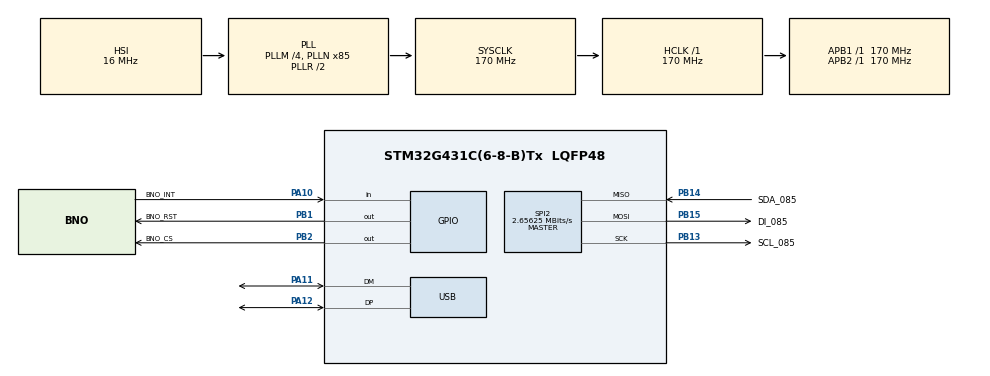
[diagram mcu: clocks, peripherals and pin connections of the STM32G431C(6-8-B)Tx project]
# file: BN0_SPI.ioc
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Mcu.Family=STM32G4
Mcu.Name=STM32G431C(6-8-B)Tx
Mcu.Package=LQFP48
NVIC.PriorityGroup=NVIC_PRIORITYGROUP_4
NVIC.USB_LP_IRQn=true\:0\:0\:false\:false\:true\:false\:true\:true
PA10.GPIO_Label=BNO_INT
PA10.Signal=GPIO_Input
PA11.Mode=Device
PA11.Signal=USB_DM
PA12.Mode=Device
PA12.Signal=USB_DP
PA13.Mode=Serial_Wire
PA13.Signal=SYS_JTMS-SWDIO
PA14.Mode=Serial_Wire
PA14.Signal=SYS_JTCK-SWCLK
PB1.GPIO_Label=BNO_RST
PB1.PinState=GPIO_PIN_SET
PB1.Signal=GPIO_Output
PB13.GPIO_Label=SCL_085
PB13.Mode=Full_Duplex_Master
PB13.Signal=SPI2_SCK
PB14.GPIO_Label=SDA_085
PB14.Mode=Full_Duplex_Master
PB14.Signal=SPI2_MISO
PB15.GPIO_Label=DI_085
PB15.Mode=Full_Duplex_Master
PB15.Signal=SPI2_MOSI
PB2.GPIO_Label=BNO_CS
PB2.PinState=GPIO_PIN_SET
PB2.Signal=GPIO_Output
ProjectManager.HeapSize=0x200
ProjectManager.StackSize=0x400
ProjectManager.TargetToolchain=STM32CubeIDE
RCC.ADC12Freq_Value=170000000
RCC.AHBFreq_Value=170000000
RCC.APB1Freq_Value=170000000
RCC.APB1TimFreq_Value=170000000
RCC.APB2Freq_Value=170000000
RCC.APB2TimFreq_Value=170000000
RCC.CK48CLockSelection=RCC_USBCLKSOURCE_HSI48
RCC.CortexFreq_Value=170000000
RCC.EXTERNAL_CLOCK_VALUE=12288000
RCC.HCLKFreq_Value=170000000
RCC.HSE_VALUE=8000000
RCC.HSI48_VALUE=48000000
RCC.HSI_VALUE=16000000
RCC.LSE_VALUE=32768
RCC.PLLM=RCC_PLLM_DIV4
RCC.PLLN=85
RCC.SYSCLKFreq_VALUE=170000000
RCC.SYSCLKSource=RCC_SYSCLKSOURCE_PLLCLK
RCC.USBFreq_Value=48000000
RCC.VCOOutputFreq_Value=340000000
SPI2.BaudRatePrescaler=SPI_BAUDRATEPRESCALER_64
SPI2.CLKPhase=SPI_PHASE_2EDGE
SPI2.CLKPolarity=SPI_POLARITY_HIGH
SPI2.CalculateBaudRate=2.65625 MBits/s
SPI2.DataSize=SPI_DATASIZE_8BIT
SPI2.Direction=SPI_DIRECTION_2LINES
SPI2.Mode=SPI_MODE_MASTER
SPI2.VirtualType=VM_MASTER
USB_DEVICE.CLASS_NAME_FS=CDC
USB_DEVICE.VirtualMode=Cdc
USB_DEVICE.VirtualModeFS=Cdc_FS
VP_SYS_VS_DBSignals.Mode=DisableDeadBatterySignals
VP_USB_DEVICE_VS_USB_DEVICE_CDC_FS.Mode=CDC_FS
board=custom

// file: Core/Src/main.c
/* USER CODE BEGIN Header */
/**
  ******************************************************************************
  * @file           : main.c
  * @brief          : Main program body
  ******************************************************************************
  * @attention
  *
  * Copyright (c) 2026 STMicroelectronics.
  * All rights reserved.
  *
  * This software is licensed under terms that can be found in the LICENSE file
  * in the root directory of this software component.
  * If no LICENSE file comes with this software, it is provided AS-IS.
  *
  ******************************************************************************
  */
/* USER CODE END Header */
#include "main.h"
#include "usb_device.h"

/* USER CODE BEGIN Includes */
#include <stdio.h>
#include <math.h>
#include "usbd_cdc_if.h"
#include "bno085.h"
/* USER CODE END Includes */

SPI_HandleTypeDef hspi2;

/* USER CODE BEGIN PV */
BNO085_Data imu;
/* USER CODE END PV */

void SystemClock_Config(void);
static void MX_GPIO_Init(void);
static void MX_SPI2_Init(void);

int main(void)
{

  /* MCU Configuration--------------------------------------------------------*/

  /* Reset of all peripherals, Initializes the Flash interface and the Systick. */
  HAL_Init();

  /* Configure the system clock */
  SystemClock_Config();

  /* Initialize all configured peripherals */
  MX_GPIO_Init();
  MX_SPI2_Init();
  MX_USB_Device_Init();
  /* USER CODE BEGIN 2 */
  if (!BNO085_Init(10000)) {           /* 10000 us = 100 Hz reports */
      static const char err[] = "BNO085 not responding (no INT after reset)\r\n";
      while (1) {
        CDC_Transmit_FS((uint8_t *)err, sizeof err - 1);
        HAL_Delay(1000);
      }
    }
    uint32_t last_print = HAL_GetTick();
  /* USER CODE END 2 */

  /* Infinite loop */
  while (1)
  {

    /* USER CODE BEGIN 3 */
	  BNO085_Service(&imu);              /* call often; returns at once if no data */

	      if (HAL_GetTick() - last_print >= 100) {
	        last_print = HAL_GetTick();

	        /* Quaternion to roll/pitch in degrees (same roll formula as the ESP32 code) */
	        float roll  = atan2f(2.0f * (imu.qr * imu.qi + imu.qj * imu.qk),
	                             1.0f - 2.0f * (imu.qi * imu.qi + imu.qj * imu.qj)) * 57.2958f;
	        float s     = 2.0f * (imu.qr * imu.qj - imu.qk * imu.qi);
	        if (s > 1.0f) s = 1.0f;
	        if (s < -1.0f) s = -1.0f;
	        float pitch = asinf(s) * 57.2958f;

	        static char msg[96];
	        int n = snprintf(msg, sizeof msg,
	                         "roll %7.2f pitch %7.2f | gyro %7.1f %7.1f %7.1f deg/s\r\n",
	                         roll, pitch, imu.gx * 57.2958f, imu.gy * 57.2958f, imu.gz * 57.2958f);
	        CDC_Transmit_FS((uint8_t *)msg, n);
	      }

  }
  /* USER CODE END 3 */
}

void SystemClock_Config(void)
{
  RCC_OscInitTypeDef RCC_OscInitStruct = {0};
  RCC_ClkInitTypeDef RCC_ClkInitStruct = {0};

  /** Configure the main internal regulator output voltage
  */
  HAL_PWREx_ControlVoltageScaling(PWR_REGULATOR_VOLTAGE_SCALE1_BOOST);

  /** Initializes the RCC Oscillators according to the specified parameters
  * in the RCC_OscInitTypeDef structure.
  */
  RCC_OscInitStruct.OscillatorType = RCC_OSCILLATORTYPE_HSI|RCC_OSCILLATORTYPE_HSI48;
  RCC_OscInitStruct.HSIState = RCC_HSI_ON;
  RCC_OscInitStruct.HSICalibrationValue = RCC_HSICALIBRATION_DEFAULT;
  RCC_OscInitStruct.HSI48State = RCC_HSI48_ON;
  RCC_OscInitStruct.PLL.PLLState = RCC_PLL_ON;
  RCC_OscInitStruct.PLL.PLLSource = RCC_PLLSOURCE_HSI;
  RCC_OscInitStruct.PLL.PLLM = RCC_PLLM_DIV4;
  RCC_OscInitStruct.PLL.PLLN = 85;
  RCC_OscInitStruct.PLL.PLLP = RCC_PLLP_DIV2;
  RCC_OscInitStruct.PLL.PLLQ = RCC_PLLQ_DIV2;
  RCC_OscInitStruct.PLL.PLLR = RCC_PLLR_DIV2;
  if (HAL_RCC_OscConfig(&RCC_OscInitStruct) != HAL_OK)
  {
    Error_Handler();
  }

  /** Initializes the CPU, AHB and APB buses clocks
  */
  RCC_ClkInitStruct.ClockType = RCC_CLOCKTYPE_HCLK|RCC_CLOCKTYPE_SYSCLK
                              |RCC_CLOCKTYPE_PCLK1|RCC_CLOCKTYPE_PCLK2;
  RCC_ClkInitStruct.SYSCLKSource = RCC_SYSCLKSOURCE_PLLCLK;
  RCC_ClkInitStruct.AHBCLKDivider = RCC_SYSCLK_DIV1;
  RCC_ClkInitStruct.APB1CLKDivider = RCC_HCLK_DIV1;
  RCC_ClkInitStruct.APB2CLKDivider = RCC_HCLK_DIV1;

  if (HAL_RCC_ClockConfig(&RCC_ClkInitStruct, FLASH_LATENCY_4) != HAL_OK)
  {
    Error_Handler();
  }
}

static void MX_SPI2_Init(void)
{

  /* SPI2 parameter configuration*/
  hspi2.Instance = SPI2;
  hspi2.Init.Mode = SPI_MODE_MASTER;
  hspi2.Init.Direction = SPI_DIRECTION_2LINES;
  hspi2.Init.DataSize = SPI_DATASIZE_8BIT;
  hspi2.Init.CLKPolarity = SPI_POLARITY_HIGH;
  hspi2.Init.CLKPhase = SPI_PHASE_2EDGE;
  hspi2.Init.NSS = SPI_NSS_SOFT;
  hspi2.Init.BaudRatePrescaler = SPI_BAUDRATEPRESCALER_64;
  hspi2.Init.FirstBit = SPI_FIRSTBIT_MSB;
  hspi2.Init.TIMode = SPI_TIMODE_DISABLE;
  hspi2.Init.CRCCalculation = SPI_CRCCALCULATION_DISABLE;
  hspi2.Init.CRCPolynomial = 7;
  hspi2.Init.CRCLength = SPI_CRC_LENGTH_DATASIZE;
  hspi2.Init.NSSPMode = SPI_NSS_PULSE_DISABLE;
  if (HAL_SPI_Init(&hspi2) != HAL_OK)
  {
    Error_Handler();
  }

}

static void MX_GPIO_Init(void)
{
  GPIO_InitTypeDef GPIO_InitStruct = {0};

  /* GPIO Ports Clock Enable */
  __HAL_RCC_GPIOB_CLK_ENABLE();
  __HAL_RCC_GPIOA_CLK_ENABLE();

  /*Configure GPIO pin Output Level */
  HAL_GPIO_WritePin(GPIOB, BNO_RST_Pin|BNO_CS_Pin, GPIO_PIN_SET);

  /*Configure GPIO pins : BNO_RST_Pin BNO_CS_Pin */
  GPIO_InitStruct.Pin = BNO_RST_Pin|BNO_CS_Pin;
  GPIO_InitStruct.Mode = GPIO_MODE_OUTPUT_PP;
  GPIO_InitStruct.Pull = GPIO_NOPULL;
  GPIO_InitStruct.Speed = GPIO_SPEED_FREQ_LOW;
  HAL_GPIO_Init(GPIOB, &GPIO_InitStruct);

  /*Configure GPIO pin : BNO_INT_Pin */
  GPIO_InitStruct.Pin = BNO_INT_Pin;
  GPIO_InitStruct.Mode = GPIO_MODE_INPUT;
  GPIO_InitStruct.Pull = GPIO_NOPULL;
  HAL_GPIO_Init(BNO_INT_GPIO_Port, &GPIO_InitStruct);

}

void Error_Handler(void)
{
  __disable_irq();
  while (1)
  {
  }
}
